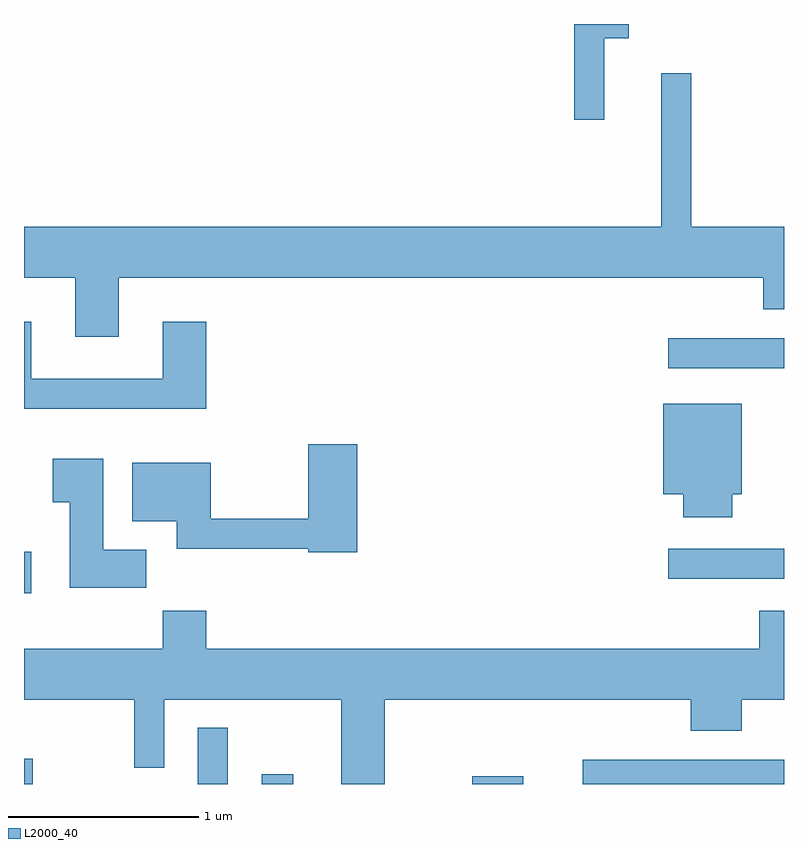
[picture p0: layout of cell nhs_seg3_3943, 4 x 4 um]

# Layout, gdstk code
import gdstk
lib = gdstk.Library(unit=1e-6, precision=1e-09)
def R(c, l, rs):  # rectangles x0, y0, x1, y1
    for r in rs: c.add(gdstk.rectangle(r[:2], r[2:], *l))
def P(c, l, *ps):  # polygons
    for p in ps: c.add(gdstk.Polygon(p, *l))
L2000_40 = (2000, 40)

nhs_seg3_3943 = lib.new_cell('nhs_seg3_3943')
R(nhs_seg3_3943, L2000_40, [(299.611,1249.892,299.658,1250.024), (300.526,1249.892,300.684,1250.188), (300.861,1249.892,301.029,1249.943), (301.971,1249.892,302.239,1249.934), (302.551,1249.892,303.611,1250.019), (299.611,1250.896,299.649,1251.114), (303.003,1250.971,303.611,1251.129), (303.003,1252.081,303.611,1252.239)])
P(nhs_seg3_3943, L2000_40, [(302.664,1253.816),(302.794,1253.816),(302.794,1253.892),(302.506,1253.892),(302.506,1253.388),(302.664,1253.388)],
  [(300.109,1252.556),(303.501,1252.556),(303.501,1252.391),(303.611,1252.391),(303.611,1252.824),(303.124,1252.824),(303.124,1253.633),(302.966,1253.633),(302.966,1252.824),(299.611,1252.824),(299.611,1252.556),(299.881,1252.556),(299.881,1252.246),(300.109,1252.246)],
  [(300.569,1252.324),(300.341,1252.324),(300.341,1252.024),(299.649,1252.024),(299.649,1252.324),(299.611,1252.324),(299.611,1251.866),(300.569,1251.866)],
  [(303.339,1251.416),(303.389,1251.416),(303.389,1251.894),(302.976,1251.894),(302.976,1251.416),(303.081,1251.416),(303.081,1251.296),(303.339,1251.296)],
  [(301.364,1251.679),(301.106,1251.679),(301.106,1251.289),(300.594,1251.289),(300.594,1251.584),(300.181,1251.584),(300.181,1251.276),(300.416,1251.276),(300.416,1251.131),(301.106,1251.131),(301.106,1251.111),(301.364,1251.111)],
  [(300.254,1251.124),(300.029,1251.124),(300.029,1251.604),(299.761,1251.604),(299.761,1251.376),(299.851,1251.376),(299.851,1250.926),(300.254,1250.926)],
  [(301.509,1250.336),(303.121,1250.336),(303.121,1250.171),(303.389,1250.171),(303.389,1250.336),(303.611,1250.336),(303.611,1250.804),(303.481,1250.804),(303.481,1250.604),(300.569,1250.604),(300.569,1250.804),(300.341,1250.804),(300.341,1250.604),(299.611,1250.604),(299.611,1250.336),(300.191,1250.336),(300.191,1249.978),(300.349,1249.978),(300.349,1250.336),(301.281,1250.336),(301.281,1249.892),(301.509,1249.892)])

lib.write_gds('nhs_seg3_3943.gds')
